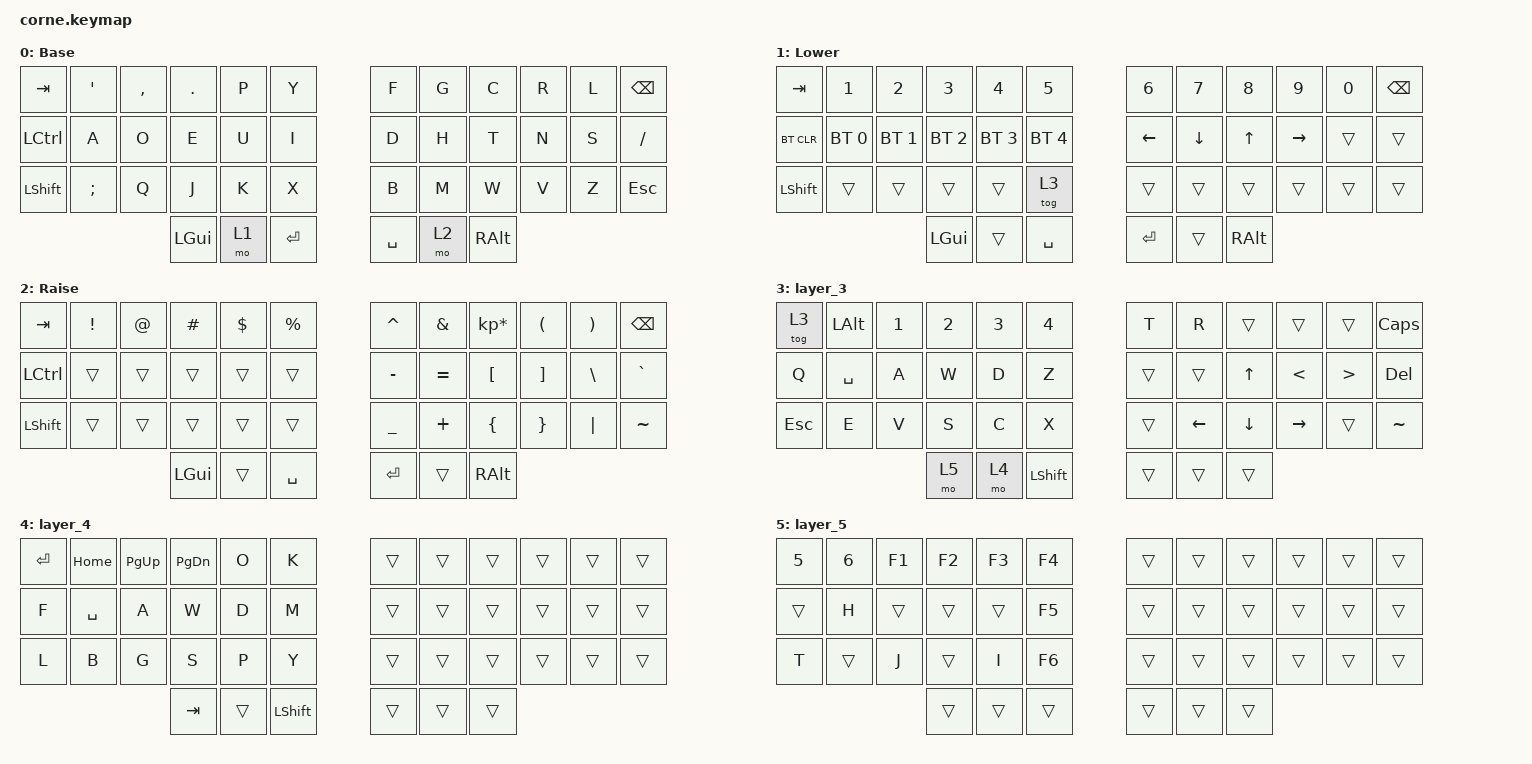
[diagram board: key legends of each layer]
/*
 * Copyright (c) 2020 The ZMK Contributors
 *
 * SPDX-License-Identifier: MIT
 */

#include <behaviors.dtsi>
#include <dt-bindings/zmk/bt.h>
#include <dt-bindings/zmk/keys.h>

/ {
    keymap {
        compatible = "zmk,keymap";

        default_layer {
            // -----------------------------------------------------------------------------------------
            // |  TAB |  '  |  ,  |  .  |  P  |  Y  |   |  F  |  G   |  C  |  R  |  L  | BKSP |
            // | CTRL |  A  |  O  |  E  |  U  |  I  |   |  D  |  H   |  T  |  N  |  S  |  /   |
            // | SHFT |  ;  |  Q  |  J  |  K  |  X  |   |  B  |  M   |  W  |  V  |  Z  | ESC  |
            //                    | GUI | LWR | SPC |   | ENT | RSE  | ALT |

            display-name = "Base";
            bindings = <
&kp TAB    &kp SQT   &kp COMMA  &kp DOT   &kp P  &kp Y        &kp F      &kp G  &kp C     &kp R  &kp L  &kp BSPC
&kp LCTRL  &kp A     &kp O      &kp E     &kp U  &kp I        &kp D      &kp H  &kp T     &kp N  &kp S  &kp FSLH
&kp LSHFT  &kp SEMI  &kp Q      &kp J     &kp K  &kp X        &kp B      &kp M  &kp W     &kp V  &kp Z  &kp ESC
                                &kp LGUI  &mo 1  &kp ENTER    &kp SPACE  &mo 2  &kp RALT
            >;
        };

        lower_layer {
            // -----------------------------------------------------------------------------------------
            // |  TAB |  1  |  2  |  3  |  4  |  5  |   |  6  |  7  |  8  |  9  |  0  | BKSP |
            // | BTCLR| BT1 | BT2 | BT3 | BT4 | BT5 |   | LFT | DWN |  UP | RGT |     |      |
            // | SHFT |     |     |     |     |     |   |     |     |     |     |     |      |
            //                    | GUI |     | SPC |   | ENT |     | ALT |

            display-name = "Lower";
            bindings = <
&kp TAB     &kp N1        &kp N2        &kp N3        &kp N4        &kp N5          &kp N6    &kp N7    &kp N8    &kp N9     &kp N0  &kp BSPC
&bt BT_CLR  &bt BT_SEL 0  &bt BT_SEL 1  &bt BT_SEL 2  &bt BT_SEL 3  &bt BT_SEL 4    &kp LEFT  &kp DOWN  &kp UP    &kp RIGHT  &trans  &trans
&kp LSHFT   &trans        &trans        &trans        &trans        &tog 3          &trans    &trans    &trans    &trans     &trans  &trans
                                        &kp LGUI      &trans        &kp SPACE       &kp RET   &trans    &kp RALT
            >;
        };

        raise_layer {
            // -----------------------------------------------------------------------------------------
            // |  TAB |  !  |  @  |  #  |  $  |  %  |   |  ^  |  &  |  *  |  (  |  )  | BKSP |
            // | CTRL |     |     |     |     |     |   |  -  |  =  |  [  |  ]  |  \  |  `   |
            // | SHFT |     |     |     |     |     |   |  _  |  +  |  {  |  }  | "|" |  ~   |
            //                    | GUI |     | SPC |   | ENT |     | ALT |

            display-name = "Raise";
            bindings = <
&kp TAB    &kp EXCL  &kp AT  &kp HASH  &kp DLLR  &kp PRCNT    &kp CARET  &kp AMPS   &kp KP_MULTIPLY  &kp LPAR  &kp RPAR  &kp BSPC
&kp LCTRL  &trans    &trans  &trans    &trans    &trans       &kp MINUS  &kp EQUAL  &kp LBKT         &kp RBKT  &kp BSLH  &kp GRAVE
&kp LSHFT  &trans    &trans  &trans    &trans    &trans       &kp UNDER  &kp PLUS   &kp LBRC         &kp RBRC  &kp PIPE  &kp TILDE
                             &kp LGUI  &trans    &kp SPACE    &kp RET    &trans     &kp RALT
            >;
        };

        layer_3 {
            bindings = <
&tog 3   &kp LEFT_ALT  &kp NUMBER_1  &kp NUMBER_2  &kp NUMBER_3  &kp NUMBER_4    &kp T   &kp R     &trans    &trans         &trans            &kp CAPS
&kp Q    &kp SPACE     &kp A         &kp W         &kp D         &kp Z           &trans  &trans    &kp UP    &kp LESS_THAN  &kp GREATER_THAN  &kp DEL
&kp ESC  &kp E         &kp V         &kp S         &kp C         &kp X           &trans  &kp LEFT  &kp DOWN  &kp RIGHT      &trans            &kp TILDE
                                     &mo 5         &mo 4         &kp LSHIFT      &trans  &trans    &trans
            >;
        };

        layer_4 {
            bindings = <
&kp ENTER  &kp HOME   &kp PG_UP  &kp PG_DN  &kp O   &kp K             &trans  &trans  &trans  &trans  &trans  &trans
&kp F      &kp SPACE  &kp A      &kp W      &kp D   &kp M             &trans  &trans  &trans  &trans  &trans  &trans
&kp L      &kp B      &kp G      &kp S      &kp P   &kp Y             &trans  &trans  &trans  &trans  &trans  &trans
                                 &kp TAB    &trans  &kp LEFT_SHIFT    &trans  &trans  &trans
            >;
        };

        layer_5 {
            bindings = <
&kp N5  &kp N6  &kp F1  &kp F2  &kp F3  &kp F4    &trans  &trans  &trans  &trans  &trans  &trans
&trans  &kp H   &trans  &trans  &trans  &kp F5    &trans  &trans  &trans  &trans  &trans  &trans
&kp T   &trans  &kp J   &trans  &kp I   &kp F6    &trans  &trans  &trans  &trans  &trans  &trans
                        &trans  &trans  &trans    &trans  &trans  &trans
            >;
        };
    };
};
